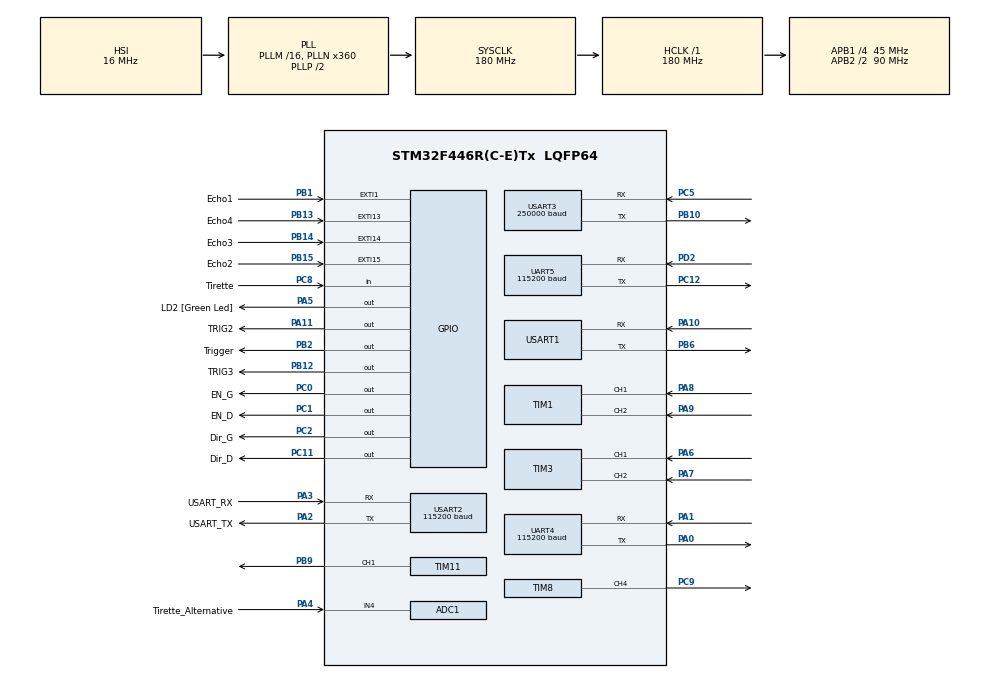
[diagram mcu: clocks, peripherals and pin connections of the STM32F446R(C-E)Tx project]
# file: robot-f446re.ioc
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Mcu.Family=STM32F4
PH0-OSC_IN.Signal=RCC_OSC_IN
RCC.CortexFreq_Value=180000000
PB10.Mode=Asynchronous
NVIC.TIM6_DAC_IRQn=true\:0\:0\:false\:false\:true\:true\:true
PC12.Signal=UART5_TX
PB14.GPIO_Label=Echo3
PA14.GPIO_Label=TCK
TIM3.EncoderMode=TIM_ENCODERMODE_TI12
PC0.GPIO_Label=EN_G
TIM1.EncoderMode=TIM_ENCODERMODE_TI12
TIM8.Channel-PWM\ Generation4\ CH4=TIM_CHANNEL_4
PC5.Mode=Asynchronous
PB13.GPIO_Label=Echo4
PB13.Signal=GPXTI13
PB15.Signal=GPXTI15
RCC.SYSCLKSource=RCC_SYSCLKSOURCE_PLLCLK
ProjectManager.StackSize=0x400
NVIC.UART5_IRQn=true\:0\:0\:true\:false\:true\:true\:true
VP_TIM7_VS_ClockSourceINT.Mode=Enable_Timer
NVIC.EXTI1_IRQn=true\:0\:0\:false\:false\:true\:true\:true
USART3.BaudRate=250000
TIM8.Pulse-PWM\ Generation4\ CH4=500
UART4.BaudRate=115200
RCC.HCLKFreq_Value=180000000
RCC.APB2TimFreq_Value=180000000
PB1.GPIO_ModeDefaultEXTI=GPIO_MODE_IT_RISING_FALLING
PB6.Signal=USART1_TX
PB6.Mode=Asynchronous
TIM7.Period=9999
RCC.AHBFreq_Value=180000000
PH0-OSC_IN.Mode=HSE-External-Oscillator
NVIC.EXTI15_10_IRQn=true\:0\:0\:false\:false\:true\:true\:true
ADC1.Channel-0\#ChannelRegularConversion=ADC_CHANNEL_4
RCC.HSE_VALUE=8000000
PB2.Signal=GPIO_Output
PB12.GPIO_Label=TRIG3
PC14-OSC32_IN.Mode=LSE-External-Oscillator
PA14.Mode=Serial_Wire
PB1.GPIO_Label=Echo1
PC11.GPIO_Label=Dir_D
NVIC.TIM2_IRQn=true\:0\:0\:false\:false\:true\:true\:true
PA8.Signal=S_TIM1_CH1
SH.S_TIM3_CH1.0=TIM3_CH1,Encoder_Interface
TIM4.Period=90
TIM6.Period=99
ADC1.SamplingTime-0\#ChannelRegularConversion=ADC_SAMPLETIME_3CYCLES
RCC.FLatency-AdvancedSettings=FLASH_LATENCY_5
PH1-OSC_OUT.Mode=HSE-External-Oscillator
Mcu.Package=LQFP64
PB9.Signal=S_TIM11_CH1
TIM2.Prescaler=2686
PB1.Signal=GPXTI1
PA6.Signal=S_TIM3_CH1
SH.S_TIM8_CH4.0=TIM8_CH4,PWM Generation4 CH4
USART2.VirtualMode=VM_ASYNC
PA2.GPIO_Label=USART_TX
PA10.Signal=USART1_RX
TIM7.AutoReloadPreload=TIM_AUTORELOAD_PRELOAD_DISABLE
TIM8.Prescaler=179
RCC.APB2CLKDivider=RCC_HCLK_DIV2
RCC.APB1TimFreq_Value=90000000
UART5.BaudRate=115200
PC5.Signal=USART3_RX
SH.S_TIM11_CH1.0=TIM11_CH1,PWM Generation1 CH1
PA4.GPIO_Label=Tirette_Alternative
PC2.GPIO_Label=Dir_G
NVIC.TIM7_IRQn=true\:2\:0\:true\:false\:true\:true\:true
PA3.Signal=USART2_RX
NVIC.UART4_IRQn=true\:0\:0\:true\:false\:true\:true\:true
PB3.GPIO_Label=SWO
PB14.GPIO_ModeDefaultEXTI=GPIO_MODE_IT_RISING_FALLING
PC15-OSC32_OUT.Mode=LSE-External-Oscillator
ADC1.Rank-0\#ChannelRegularConversion=1
TIM3.CounterMode=TIM_COUNTERMODE_UP
PA10.Mode=Asynchronous
TIM3.AutoReloadPreload=TIM_AUTORELOAD_PRELOAD_ENABLE
TIM1.CounterMode=TIM_COUNTERMODE_UP
PC11.Signal=GPIO_Output
PC8.Signal=GPIO_Input
TIM6.Prescaler=8999
PC2.Signal=GPIO_Output
VP_TIM6_VS_ClockSourceINT.Mode=Enable_Timer
PA11.GPIO_Label=TRIG2
TIM11.Prescaler=179
UART5.VirtualMode=Asynchronous
PC0.Signal=GPIO_Output
RCC.APB1CLKDivider=RCC_HCLK_DIV4
UART4.VirtualMode=Asynchronous
PC14-OSC32_IN.Signal=RCC_OSC32_IN
PB13.GPIO_ModeDefaultEXTI=GPIO_MODE_IT_RISING_FALLING
NVIC.USART2_IRQn=true\:5\:0\:true\:false\:true\:true\:true
USART2.BaudRate=115200
PA0-WKUP.Signal=UART4_TX
VP_TIM11_VS_ClockSourceINT.Mode=Enable_Timer
PA0-WKUP.Mode=Asynchronous
PC8.GPIO_Label=Tirette
PA3.Mode=Asynchronous
PA13.Signal=SYS_JTMS-SWDIO
SH.S_TIM1_CH1.0=TIM1_CH1,Encoder_Interface
ProjectManager.TargetToolchain=STM32CubeIDE
PA9.Signal=S_TIM1_CH2
VP_TIM8_VS_ClockSourceINT.Mode=Internal
RCC.USBFreq_Value=180000000
TIM4.Prescaler=1
PC15-OSC32_OUT.Signal=RCC_OSC32_OUT
PA1.Signal=UART4_RX
PB10.Signal=USART3_TX
PB14.Signal=GPXTI14
PD2.Mode=Asynchronous
PA5.Signal=GPIO_Output
SH.S_TIM3_CH2.0=TIM3_CH2,Encoder_Interface
PB15.GPIO_ModeDefaultEXTI=GPIO_MODE_IT_RISING_FALLING
PC12.Mode=Asynchronous
TIM7.Prescaler=8999
TIM8.AutoReloadPreload=TIM_AUTORELOAD_PRELOAD_DISABLE
board=NUCLEO-F446RE
RCC.VCOOutputFreq_Value=360000000
TIM11.Period=1000
RCC.APB2Freq_Value=90000000
PA1.Mode=Asynchronous
PB15.GPIO_Label=Echo2
SH.S_TIM1_CH2.0=TIM1_CH2,Encoder_Interface
VP_TIM2_VS_ClockSourceINT.Mode=Internal
PC1.GPIO_Label=EN_D
PH1-OSC_OUT.Signal=RCC_OSC_OUT
SH.ADCx_IN4.0=ADC1_IN4,IN4
TIM2.Period=999
PA13.Mode=Serial_Wire
Mcu.Name=STM32F446R(C-E)Tx
PA2.Signal=USART2_TX
PA13.GPIO_Label=TMS
TIM8.Period=1000
RCC.48MHZClocksFreq_Value=84000000
PC8.GPIO_PuPd=GPIO_NOPULL
PB3.Signal=SYS_JTDO-SWO
PA4.Signal=ADCx_IN4
RCC.SYSCLKFreq_VALUE=180000000
ADC1.master=1
PA5.GPIO_Label=LD2 [Green Led]
TIM1.IC1Filter=10
USART3.VirtualMode=VM_ASYNC
USART1.VirtualMode=VM_ASYNC
PA11.Signal=GPIO_Output
PA14.Signal=SYS_JTCK-SWCLK
PB2.GPIO_Label=Trigger
ProjectManager.HeapSize=0x200
RCC.HSI_VALUE=16000000
VP_TIM4_VS_ClockSourceINT.Mode=Internal
NVIC.PriorityGroup=NVIC_PRIORITYGROUP_4
ADC1.NbrOfConversionFlag=1
RCC.PLLN=360
TIM11.Channel=TIM_CHANNEL_1
PA2.Mode=Asynchronous
PC9.Signal=S_TIM8_CH4
PD2.Signal=UART5_RX
NVIC.TIM4_IRQn=true\:0\:0\:false\:false\:true\:true\:true
RCC.APB1Freq_Value=45000000
PC1.Signal=GPIO_Output
PB12.Signal=GPIO_Output
PA3.GPIO_Label=USART_RX
PA7.Signal=S_TIM3_CH2

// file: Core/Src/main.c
/* USER CODE BEGIN Header */
/**
 ******************************************************************************
 * @file           : main.c
 * @brief          : Main program body
 ******************************************************************************
 * @attention
 *
 * <h2><center>&copy; Copyright (c) 2020 STMicroelectronics.
 * All rights reserved.</center></h2>
 *
 * This software component is licensed by ST under BSD 3-Clause license,
 * the "License"; You may not use this file except in compliance with the
 * License. You may obtain a copy of the License at:
 *                        opensource.org/licenses/BSD-3-Clause
 *
 ******************************************************************************
 */
/* USER CODE END Header */
#include "main.h"
#include "adc.h"
#include "tim.h"
#include "usart.h"
#include "gpio.h"

/* USER CODE BEGIN Includes */
#include <stdio.h>
#include <string.h>
#include "retarget.h" 			// Ajout de la fonction printf()

#include "actionneurs.h"
#include "asserv.h"
#include "config.h" 			// Fichier de configuration
#include "ihm.h"
#include "lidar.h"
#include "moteurs.h"
#include "strategie.h"
#include "HC-SR04.h"
/* USER CODE END Includes */

/* USER CODE BEGIN PV */
int cptTempsMatch = 0;	// Compteur temps match
float g_ADCValue = 0;	// Tension mesurée tirette
/* USER CODE END PV */

void SystemClock_Config(void);
/* USER CODE BEGIN PFP */
int initTimers();
int initSerials();
/* USER CODE END PFP */

int main(void)
{

  /* MCU Configuration--------------------------------------------------------*/

  /* Reset of all peripherals, Initializes the Flash interface and the Systick. */
  HAL_Init();

  /* Configure the system clock */
  SystemClock_Config();

  /* Initialize all configured peripherals */
  MX_GPIO_Init();
  MX_USART2_UART_Init();
  MX_TIM1_Init();
  MX_TIM8_Init();
  MX_TIM11_Init();
  MX_UART4_Init();
  MX_UART5_Init();
  MX_USART3_UART_Init();
  MX_TIM3_Init();
  MX_TIM7_Init();
  MX_USART1_UART_Init();
  MX_TIM2_Init();
  MX_ADC1_Init();
  MX_TIM6_Init();
  MX_TIM4_Init();
  /* USER CODE BEGIN 2 */
  initSerials();

  port_depart = BLEU;
  initStrategie();

  Motor_Init();
  initPinces();
  initBras();
  initFlag();
  initUltrasons();

  indexStrategie = 1; // Variable parcourant le tableau de stratégie
  initTimers();
  /* USER CODE END 2 */

  /* Infinite loop */
  /* USER CODE BEGIN WHILE */

  // Tirette
  float voltage = 0;
  do{
	#if MODULE_TIRETTE
	  HAL_ADC_Start(&hadc1);
	  if (HAL_ADC_PollForConversion(&hadc1, 1000000) == HAL_OK)
	  {
		  g_ADCValue = HAL_ADC_GetValue(&hadc1);
		  voltage = g_ADCValue * (3.3 / 4096.0);
		  #if MODULE_DEBUG && DEBUG_TIRETTE
		  	  printf("%f\r\n",voltage);
		  #endif
	  }

	  if((voltage < (float)TIRETTE_SEUIL) == TRUE && match_started == FALSE){
		  match_started = TRUE;
		  initStrategie();
	  }
	#else
	match_started = TRUE;

	#endif
  } while(match_started == FALSE);
  // Fin tirette

  #if MODULE_LIDAR
  	  HAL_UART_Receive_IT(&huart5, (uint8_t*)&buff_lidar, 1);
  #endif

  cptTempsMatch = 0;

  while (1)
  {
	  #if MODULE_DEBUG
	  	  debugUltrasons();
	  	  HAL_Delay(100);
	  #endif
    /* USER CODE END WHILE */

  }
}

void SystemClock_Config(void)
{
  RCC_OscInitTypeDef RCC_OscInitStruct = {0};
  RCC_ClkInitTypeDef RCC_ClkInitStruct = {0};

  /** Configure the main internal regulator output voltage
  */
  __HAL_RCC_PWR_CLK_ENABLE();
  __HAL_PWR_VOLTAGESCALING_CONFIG(PWR_REGULATOR_VOLTAGE_SCALE1);
  /** Initializes the RCC Oscillators according to the specified parameters
  * in the RCC_OscInitTypeDef structure.
  */
  RCC_OscInitStruct.OscillatorType = RCC_OSCILLATORTYPE_HSI;
  RCC_OscInitStruct.HSIState = RCC_HSI_ON;
  RCC_OscInitStruct.HSICalibrationValue = RCC_HSICALIBRATION_DEFAULT;
  RCC_OscInitStruct.PLL.PLLState = RCC_PLL_ON;
  RCC_OscInitStruct.PLL.PLLSource = RCC_PLLSOURCE_HSI;
  RCC_OscInitStruct.PLL.PLLM = 16;
  RCC_OscInitStruct.PLL.PLLN = 360;
  RCC_OscInitStruct.PLL.PLLP = RCC_PLLP_DIV2;
  RCC_OscInitStruct.PLL.PLLQ = 2;
  RCC_OscInitStruct.PLL.PLLR = 2;
  if (HAL_RCC_OscConfig(&RCC_OscInitStruct) != HAL_OK)
  {
    Error_Handler();
  }
  /** Activate the Over-Drive mode
  */
  if (HAL_PWREx_EnableOverDrive() != HAL_OK)
  {
    Error_Handler();
  }
  /** Initializes the CPU, AHB and APB buses clocks
  */
  RCC_ClkInitStruct.ClockType = RCC_CLOCKTYPE_HCLK|RCC_CLOCKTYPE_SYSCLK
                              |RCC_CLOCKTYPE_PCLK1|RCC_CLOCKTYPE_PCLK2;
  RCC_ClkInitStruct.SYSCLKSource = RCC_SYSCLKSOURCE_PLLCLK;
  RCC_ClkInitStruct.AHBCLKDivider = RCC_SYSCLK_DIV1;
  RCC_ClkInitStruct.APB1CLKDivider = RCC_HCLK_DIV4;
  RCC_ClkInitStruct.APB2CLKDivider = RCC_HCLK_DIV2;

  if (HAL_RCC_ClockConfig(&RCC_ClkInitStruct, FLASH_LATENCY_5) != HAL_OK)
  {
    Error_Handler();
  }
}

/* USER CODE BEGIN 4 */

int initTimers(){

	#if MODULE_ODOMETRIE
		HAL_TIM_Encoder_Start(&CODEUR_D, TIM_CHANNEL_ALL); // htim1
		HAL_TIM_Encoder_Start(&CODEUR_G, TIM_CHANNEL_ALL); // htim3
	#endif

	#if MODULE_ASSERVISSEMENT
		HAL_TIM_Base_Start_IT(&htim2); 	// Period : 15ms
	#endif

	#if MODULE_ULTRASONS
		HAL_TIM_Base_Start_IT(&htim4); 	// Period : 1us
	#endif

	#if MODULE_LIDAR
		HAL_TIM_Base_Start_IT(&htim6); 	// Period : 10ms
	#endif

	#if MODULE_COMPTEUR
		HAL_TIM_Base_Start_IT(&htim7); 	// Period : 1sec
	#endif

	return 0;
}

int initSerials(){
	#if MODULE_DEBUG == 1
		RetargetInit(&huart2);
		printf("Mode debug actif\r\n");
	#endif

	/*
	#if MODULE_LIDAR
		// uart5 n'est plus initialisé ici
		HAL_UART_Receive_IT(&huart5, (uint8_t*)&buff_lidar, 1);
	#endif
	*/

	#if MODULE_IHM
		HAL_UART_Receive_IT(&huart4, (uint8_t*)&buff_ihm, 1);
	#endif

	return 0;
}

int initStrategie(){
	if(port_depart == BLEU){
		ODO_setAngle(START_BLEU_ANGLE);
		ODO_setX(consigneBleu[0].x);
		ODO_setY(consigneBleu[0].y);
		consigne = consigneBleu;
	}
	else if(port_depart == JAUNE){
		ODO_setAngle(START_JAUNE_ANGLE);
		ODO_setX(consigneJaune[0].x);
		ODO_setY(consigneJaune[0].y);
		consigne = consigneJaune;
	}

	return 0;
}

void HAL_TIM_PeriodElapsedCallback(TIM_HandleTypeDef *htim){

	if(htim->Instance == TIM2){
		if(indexStrategie < nb_points && match_started == 1)
			ASSERV_update(consigne[indexStrategie]);
		//printf("TIM2\r\n");
	}

	if(htim->Instance == TIM4){
		cpt_us_global++;

		if(cpt_us_global >= 0 && cpt_us_global < 10){ // && stepUS == STEP_RESET
//			HAL_GPIO_WritePin(Sensors[indexUS].Trigger_GPIO_Port,
//					Sensors[indexUS].Trigger_GPIO_Port, GPIO_PIN_SET);
			HAL_GPIO_WritePin(GPIOB, GPIO_PIN_2, GPIO_PIN_SET);
		}
		else {
//			HAL_GPIO_WritePin(Sensors[indexUS].Trigger_GPIO_Port,
//					Sensors[indexUS].Trigger_GPIO_Port, GPIO_PIN_RESET);
			HAL_GPIO_WritePin(GPIOB, GPIO_PIN_2, GPIO_PIN_RESET);

			if(stepUS == STEP_RESET) stepUS = STEP_TRIG;
		}

		if(cpt_us_global >= 10000){
			cpt_us_global = 0;
			distUS[indexUS]=999;
			indexUS++;
			if(indexUS >= NB_OF_US_SENSORS) indexUS = 0;
		}
	}

	if(htim->Instance == TIM6){
		//printf("TIM6\r\n");
		cpt_back++;
		cpt_front++;
		//printf("cpt_front = %d\r\n",cpt_front);

		if (cpt_back > 250){
			StopBack = 0;
		}

		if (cpt_front > 250){
			StopFront = 0;
		}
	}

	if(htim->Instance == TIM7){
		if(match_started == TRUE){
			cptTempsMatch++;

			if (cptTempsMatch >= TEMPS_PAVILLONS){
				raiseFlag();
			}

			if (cptTempsMatch >= 98){
				Motor_Disable();
				initBras();
				initPinces();
				match_started = 0;
			}
		}
	}
}

void HAL_UART_RxCpltCallback(UART_HandleTypeDef* huart){
	if(huart->Instance == UART5){
		strcat(lidarRawData,&buff_lidar);
		if(buff_lidar == '\n'){
			//getLidarData();
			getLidarData2();
			memset(lidarRawData,0,sizeof(lidarRawData));
		}
		HAL_UART_Receive_IT(&huart5, (uint8_t*)&buff_lidar, 1);
	}

	if(huart->Instance == UART4){
		if(match_started == FALSE){
			strcat(ihmRawData,&buff_ihm);
			if(buff_ihm == '\n'){
				decodeMsgIHM(ihmRawData);
				memset(ihmRawData,0,sizeof(ihmRawData));
			}
			HAL_UART_Receive_IT(&huart4, (uint8_t*)&buff_ihm, 1);
		}
	}
}

void HAL_GPIO_EXTI_Callback(uint16_t GPIO_Pin)
{

  if(GPIO_Pin == GPIO_PIN_1 && indexUS == US_FRONT_LEFT)
  {
	  processUltrasons(Sensors[US_FRONT_LEFT]);
  }

  if(GPIO_Pin == GPIO_PIN_15 && indexUS == US_FRONT_RIGHT)
  {
	  processUltrasons(Sensors[US_FRONT_RIGHT]);
  }

  if(GPIO_Pin == GPIO_PIN_14 && indexUS == US_BACK_LEFT)
  {
	  processUltrasons(Sensors[US_BACK_LEFT]);
  }

  if(GPIO_Pin == GPIO_PIN_13 && indexUS == US_BACK_RIGHT)
  {
	  processUltrasons(Sensors[US_BACK_RIGHT]);
  }
}

/* USER CODE END 4 */

void Error_Handler(void)
{
}

/************************ (C) COPYRIGHT STMicroelectronics *****END OF FILE****/
